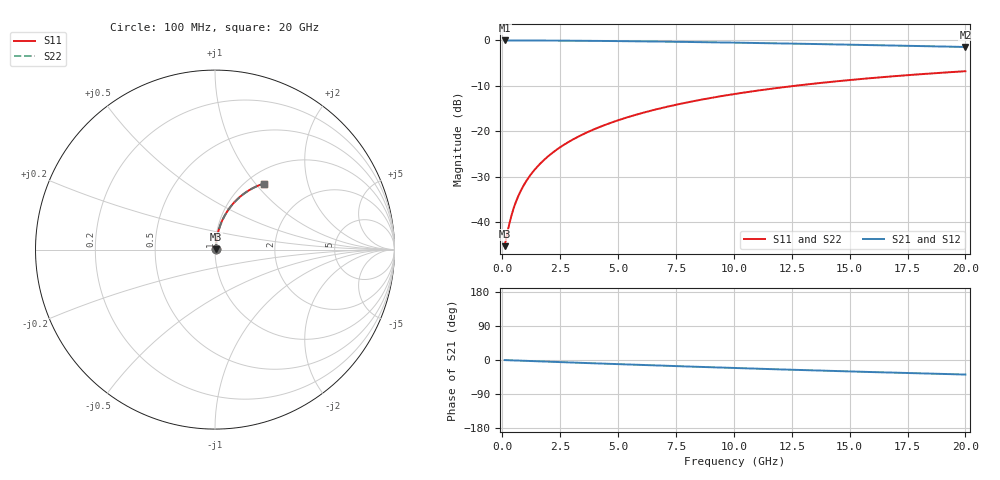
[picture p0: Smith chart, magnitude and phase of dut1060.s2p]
! Touchstone file exported from HFSS 2024.1.0
!  File:  C:/UserFiles/LocalFiles/RDL_TSV_Batchsim/temp_RDL_top_1060_1780044794.aedt
!  Generated:  04:55:35 PM May 29, 2026
!  Design:  RDL_top
!  Project:  temp_RDL_top_1060_1780044794
!  Setup:  Setup1
!  Solution:  Sweep
! Variables:
!  dtsv = 10.80580581um
!  hbump = 3um
!  htsv = 64.85um
!  ldown = 100um
!  lrdl = 475.66um
!  p = 40
!  p1 = 46.8um
!  rhole = 1um
!  t = 450um
!  tdown = 3.915915916um
!  trdl = 3.49um
!  wdown = 15.38538539um
!  wrdl = 10.32um
# GHz S MA R 50.000000
! Terminal data exported
! Port[1] = Box2_T1
! Port[2] = Box2_T2
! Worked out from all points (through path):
!   200 points, 100 MHz to 20 GHz, reference 50 ohm
!   highest |S21| = -0.04 dB at 100 MHz (marker M1); lowest = -1.5 dB at 20 GHz (marker M2)
!   group delay of S21, straight-line fit = 5.33 ps
!   lowest |S11| = -45.3 dB at 100 MHz (marker M3), VSWR 1.01, Z = 50.5 + j0.277 ohm
!   |S11| at or under -10 dB: start of sweep to 12.65 GHz
!   |S22| runs from -45.3 to -6.8 dB; largest |S21 - S12| = 2.7e-15
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0.1  0.005459 30.1  0.9953 -0.2  0.9953 -0.2  0.005459 30.1
! Gamma 0 0 0 0
! Port Impedance 50 0 50 0
0.3  0.009528 59.2  0.9951 -0.7  0.9951 -0.7  0.009528 59.2
0.4  0.01197 65.3  0.995 -0.9  0.995 -0.9  0.01197 65.3
0.5  0.01449 69.2  0.9949 -1.1  0.9949 -1.1  0.01449 69.2
0.6  0.01705 71.9  0.9948 -1.4  0.9948 -1.4  0.01705 71.9
0.7  0.01963 73.8  0.9946 -1.6  0.9946 -1.6  0.01963 73.8
0.9  0.02482 76.4  0.9943 -2.0  0.9943 -2.0  0.02482 76.4
1.2  0.03264 78.5  0.9938 -2.7  0.9938 -2.7  0.03264 78.5
1.4  0.03787 79.4  0.9935 -3.1  0.9935 -3.1  0.03787 79.4
1.7  0.04574 80.1  0.9928 -3.8  0.9928 -3.8  0.04574 80.1
2.2  0.05888 80.6  0.9916 -4.9  0.9916 -4.9  0.05888 80.6
2.8  0.07464 80.6  0.9897 -6.2  0.9897 -6.2  0.07464 80.5
3.5  0.093 80.0  0.9869 -7.7  0.9869 -7.7  0.09299 80.0
4.2  0.1113 79.2  0.9837 -9.2  0.9837 -9.2  0.1113 79.2
5  0.132 78.2  0.9794 -10.9  0.9794 -10.9  0.132 78.1
5.9  0.1551 76.8  0.974 -12.8  0.974 -12.8  0.1551 76.8
6.8  0.178 75.3  0.9679 -14.7  0.9679 -14.7  0.1779 75.3
8.3  0.2152 72.8  0.9565 -17.7  0.9565 -17.7  0.2152 72.8
10.1  0.2584 69.7  0.9414 -21.2  0.9414 -21.2  0.2584 69.7
13.4  0.3324 64.1  0.9106 -27.4  0.9106 -27.4  0.3323 64.1
16.7  0.3987 58.7  0.8775 -33.1  0.8775 -33.1  0.3986 58.7
20  0.457 53.6  0.8438 -38.4  0.8438 -38.4  0.4569 53.5
